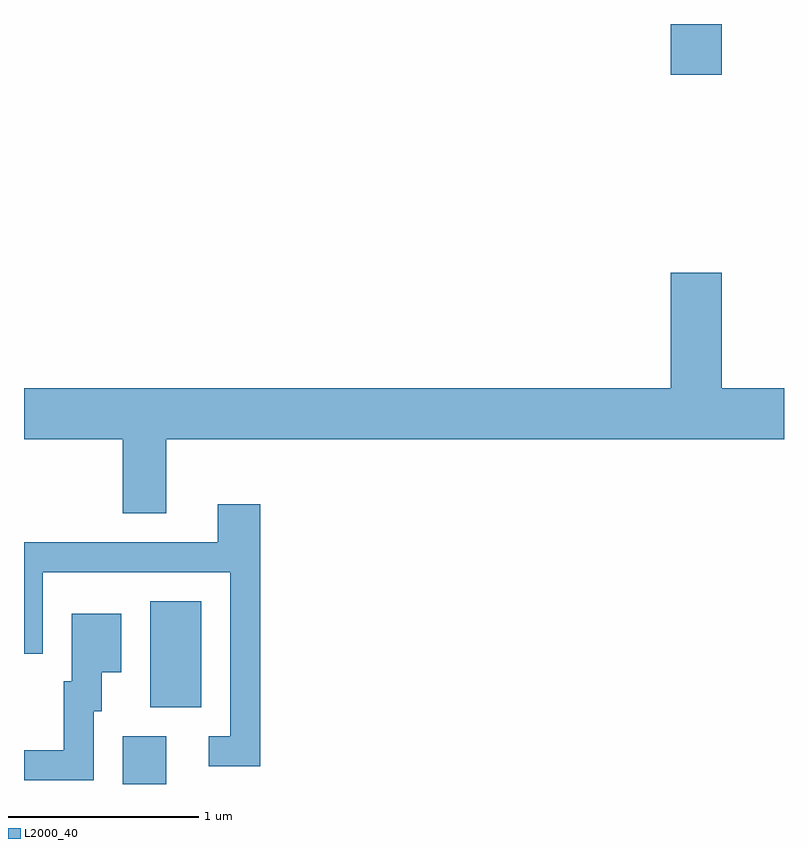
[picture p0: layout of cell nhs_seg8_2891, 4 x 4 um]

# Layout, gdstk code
import gdstk
lib = gdstk.Library(unit=1e-6, precision=1e-09)
def R(c, l, rs):  # rectangles x0, y0, x1, y1
    for r in rs: c.add(gdstk.rectangle(r[:2], r[2:], *l))
def P(c, l, *ps):  # polygons
    for p in ps: c.add(gdstk.Polygon(p, *l))
L2000_40 = (2000, 40)

nhs_seg8_2891 = lib.new_cell('nhs_seg8_2891')
R(nhs_seg8_2891, L2000_40, [(272.131,1872.342,272.359,1872.594), (272.276,1872.746,272.544,1873.304), (275.016,1876.076,275.284,1876.342)])
P(nhs_seg8_2891, L2000_40, [(272.359,1874.156),(275.611,1874.156),(275.611,1874.424),(275.284,1874.424),(275.284,1875.034),(275.016,1875.034),(275.016,1874.424),(271.611,1874.424),(271.611,1874.156),(272.131,1874.156),(272.131,1873.766),(272.359,1873.766)],
  [(272.854,1873.814),(272.631,1873.814),(272.631,1873.614),(271.611,1873.614),(271.611,1873.028),(271.709,1873.028),(271.709,1873.456),(272.696,1873.456),(272.696,1872.594),(272.583,1872.594),(272.583,1872.436),(272.854,1872.436)],
  [(271.979,1872.726),(272.019,1872.726),(272.019,1872.931),(272.124,1872.931),(272.124,1873.239),(271.861,1873.239),(271.861,1872.884),(271.821,1872.884),(271.821,1872.519),(271.611,1872.519),(271.611,1872.361),(271.979,1872.361)])

lib.write_gds('nhs_seg8_2891.gds')
